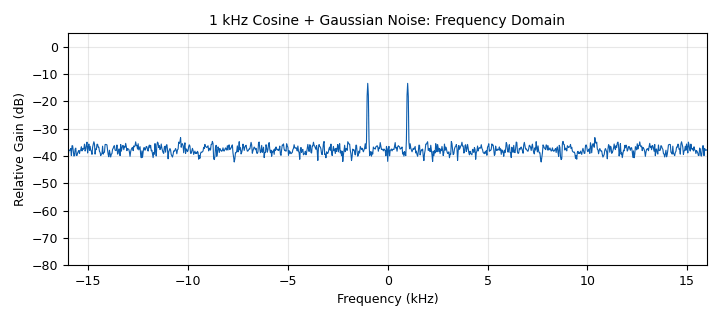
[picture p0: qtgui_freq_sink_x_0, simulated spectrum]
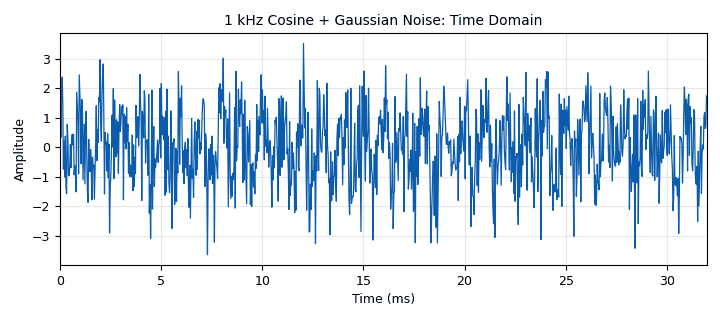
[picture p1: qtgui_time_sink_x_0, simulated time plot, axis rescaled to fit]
options:
  parameters:
    author: Dhrubjun
    generate_options: qt_gui
    id: exp1
    output_language: python
    title: Noise
  states: {}

blocks:
- name: noise_ampl
  id: variable_qtgui_range
  parameters:
    label: Noise Amplitude
    start: '0'
    step: '0.1'
    stop: '2'
    value: '1'
  states: {}
- name: samp_rate
  id: variable
  parameters:
    value: '32000'
  states: {}
- name: analog_noise_source_x_0
  id: analog_noise_source_x
  parameters:
    amp: noise_ampl
    noise_type: analog.GR_GAUSSIAN
    seed: '0'
    type: float
  states: {}
- name: analog_sig_source_x_0
  id: analog_sig_source_x
  parameters:
    amp: '1'
    freq: '1000'
    offset: '0'
    phase: '0'
    samp_rate: samp_rate
    type: float
    waveform: analog.GR_COS_WAVE
  states: {}
- name: blocks_add_xx_0
  id: blocks_add_xx
  parameters:
    type: float
  states: {}
- name: blocks_throttle2_0_0
  id: blocks_throttle2
  parameters:
    samples_per_second: samp_rate
    type: float
  states: {}
- name: qtgui_freq_sink_x_0
  id: qtgui_freq_sink_x
  parameters:
    alpha1: '3'
    average: '0.05'
    bw: samp_rate
    color1: '"red"'
    fc: '0'
    fftsize: '1024'
    name: '1 kHz Cosine + Gaussian Noise: Frequency Domain'
    type: float
    wintype: window.WIN_BLACKMAN
    ymax: '5'
    ymin: '-80'
  states: {}
- name: qtgui_time_sink_x_0
  id: qtgui_time_sink_x
  parameters:
    name: '1 kHz Cosine + Gaussian Noise: Time Domain'
    size: '1024'
    srate: samp_rate
    type: float
  states: {}

connections:
- [analog_noise_source_x_0, '0', blocks_add_xx_0, '0']
- [analog_sig_source_x_0, '0', blocks_add_xx_0, '1']
- [blocks_add_xx_0, '0', blocks_throttle2_0_0, '0']
- [blocks_throttle2_0_0, '0', qtgui_freq_sink_x_0, '0']
- [blocks_throttle2_0_0, '0', qtgui_time_sink_x_0, '0']

metadata:
  file_format: 1
  grc_version: 3.10.12.0
